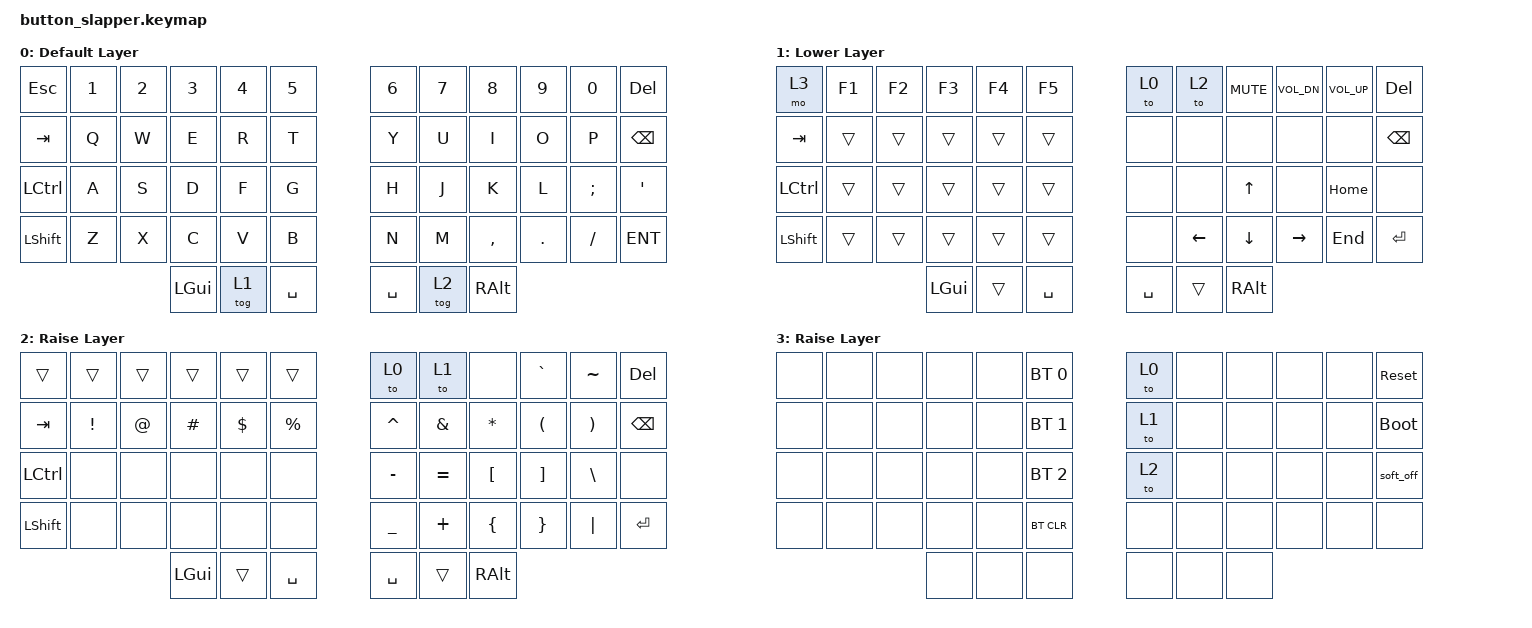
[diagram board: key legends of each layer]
/*
 * Copyright (c) 2020 The ZMK Contributors
 *
 * SPDX-License-Identifier: MIT
 */

#include <behaviors.dtsi>
#include <dt-bindings/zmk/keys.h>
#include <dt-bindings/zmk/bt.h>

/ {
        keymap {
                compatible = "zmk,keymap";

                default_layer {
                        display-name = "Default Layer";
// -----------------------------------------------------------------------------------------
// |  ESC |  1  |  2  |  3  |  4  |  5  |              |  6  |  7   |  8  |  9  |  0  | DEL  |
// |  TAB |  Q  |  W  |  E  |  R  |  T  |              |  Y  |  U   |  I  |  O  |  P  | BSPC |
// | CTRL |  A  |  S  |  D  |  F  |  G  |              |  H  |  J   |  K  |  L  |  ;  |  '   |
// | SHFT |  Z  |  X  |  C  |  V  |  B  |              |  N  |  M   |  ,  |  .  |  /  | ENT  |
//                    | GUI | LWR | SPC |              | SPC | RSE  | ALT |
                        bindings = <
   &kp ESC   &kp N1 &kp N2 &kp N3   &kp N4 &kp N5      &kp N6    &kp N7  &kp N8    &kp N9  &kp N0   &kp DEL                        
   &kp TAB   &kp Q  &kp W  &kp E    &kp R  &kp T       &kp Y     &kp U   &kp I     &kp O   &kp P    &kp BSPC
   &kp LCTRL &kp A  &kp S  &kp D    &kp F  &kp G       &kp H     &kp J   &kp K     &kp L   &kp SEMI &kp SQT
   &kp LSHFT &kp Z  &kp X  &kp C    &kp V  &kp B       &kp N     &kp M   &kp COMMA &kp DOT &kp FSLH &kp ENT
                           &kp LGUI &tog 1 &kp SPACE   &kp SPACE &tog 2  &kp RALT
                        >;
                };
                lower_layer {
                        display-name = "Lower Layer";
// -----------------------------------------------------------------------------------------
// |RSLY  | F1  | F2  | F3  | F4  | F5  |             | LYR 0|LYR 2|VOLmt |VOLdwn|VOLup| DEL  |
// | TAB  |     |     |     |     |     |             |      |     |      |      |     | BSPC |
// | CTRL |     |     |     |     |     |             |      |     |  UP  |      | HOME|      |
// | SHFT |     |     |     |     |     |             |      | LFT | DWN  | RGT  | END | ENT  |
//                    | GUI |     | SPC |             | SPC  |     | ALT  |
                        bindings = <
   &mo 3     &kp F1  &kp F2  &kp F3   &kp F4  &kp F5       &to 0      &to 2     &kp C_MUTE  &kp C_VOL_DN &kp C_VOL_UP  &kp DEL                        
   &kp TAB   &trans  &trans  &trans   &trans  &trans       &none      &none     &none       &none        &none         &kp BSPC
   &kp LCTRL &trans  &trans  &trans   &trans  &trans       &none      &none     &kp UP      &none        &kp HOME      &none
   &kp LSHFT &trans  &trans  &trans   &trans  &trans       &none      &kp LEFT  &kp DOWN    &kp RIGHT    &kp END       &kp RET
                             &kp LGUI &trans  &kp SPACE    &kp SPACE  &trans    &kp RALT
                        >;
                };
                
                raise_layer {
                        display-name = "Raise Layer";
// -----------------------------------------------------------------------------------------
// |      |     |     |     |     |     |        |LYR 0|LYR 1|     |  `  |  ~  | DEL  |
// |  TAB |  !  |  @  |  #  |  $  |  %  |        |  ^  |  &  |  *  |  (  |  )  | BSPC |
// | CTRL |     |     |     |     |     |        |  -  |  =  |  [  |  ]  |  \  |      |
// | SHFT |     |     |     |     |     |        |  _  |  +  |  {  |  }  | "|" | ENT  |
//                    | GUI |     | SPC |        | SPC |     | ALT |
                        bindings = <
   &trans    &trans   &trans &trans   &trans    &trans        &to 0      &to 1     &none      &kp GRAVE  &kp TILDE &kp DEL                        
   &kp  TAB  &kp EXCL &kp AT &kp HASH &kp DLLR  &kp PRCNT     &kp CARET  &kp AMPS  &kp ASTRK  &kp LPAR   &kp RPAR  &kp BSPC
   &kp LCTRL &none    &none  &none    &none     &none         &kp MINUS  &kp EQUAL &kp LBKT   &kp RBKT   &kp BSLH  &none
   &kp LSHFT &none    &none  &none    &none     &none         &kp UNDER  &kp PLUS  &kp LBRC   &kp RBRC   &kp PIPE  &kp RET
                             &kp LGUI &trans   &kp SPACE      &kp SPACE  &trans    &kp RALT
                        >;
                };

                reset_layer {
                        display-name = "Raise Layer";
// -----------------------------------------------------------------------------------------
// |      |     |     |     |     | BT1  |        |LYR 0 |     |     |     |     | reset |
// |      |     |     |     |     | BT2  |        |LYR 1 |     |     |     |     |bootlod|
// |      |     |     |     |     | BT3  |        |LYR 2 |     |     |     |     |  off  |
// |      |     |     |     |     | BTCLR|        |      |     |     |     |     |       |
//                    |     |     |      |        |      |     |     |
                        bindings = <
   &none   &none   &none   &none   &none   &bt BT_SEL 0       &to 0   &none   &none   &none   &none  &sys_reset                        
   &none   &none   &none   &none   &none   &bt BT_SEL 1       &to 1   &none   &none   &none   &none  &bootloader
   &none   &none   &none   &none   &none   &bt BT_SEL 2       &to 2   &none   &none   &none   &none  &soft_off
   &none   &none   &none   &none   &none   &bt BT_CLR         &none   &none   &none   &none   &none  &none
                           &none   &none   &none              &none   &none   &none
                        >;
                };
        };
};
